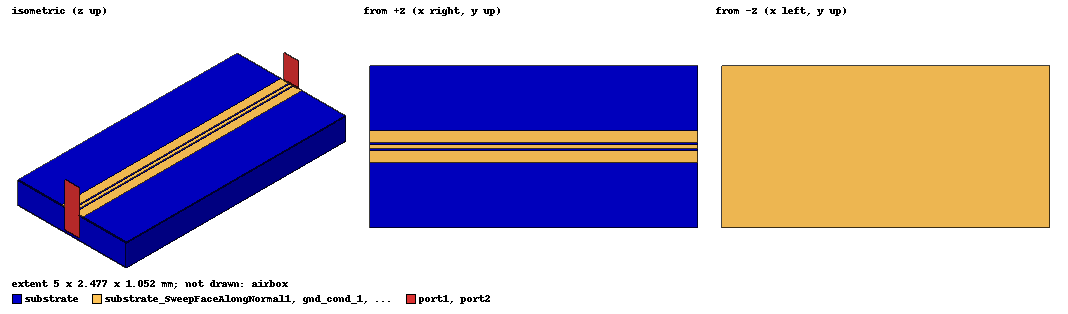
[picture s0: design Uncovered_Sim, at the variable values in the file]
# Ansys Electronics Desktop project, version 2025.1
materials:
  vacuum: permittivity=1
  air: permittivity=1.0006 permeability=1.0000004
  gold: permeability=0.99996 conductivity=41000000
  sapphire: permittivity=9.4 dielectric_loss_tangent=2e-05

design Uncovered_Sim (HFSS, HFSS Terminal Network, model units mm)
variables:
  subx = 5mm
  suby = s + 2*(g+gnd_width) + 2000um
  subz = 500um
  s = 60um  # optimise 13.5um..40.5um; tune 13.5um..40.5um
  g = 28.5um
  gnd_width = 3*s
  Tmet = 2um  # optimise 1um..3um; tune 1um..3um
  air_box_h = subz + 15000um
  porty = 3*(2*g+s)
  portz = 2*subz
  airx = subx
  airy = suby+15000um
  abpillarx = 20um
  abpillary = 20um
  abpillarz = 4um
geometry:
  substrate [sapphire] = box(corner=(-subx/2, -suby/2, 0mm), size=(subx, suby, subz))
  signal_dummy [vacuum, non-model] = substrate.section(plane=ZX)
  signal_dummy.thicken(s, both sides)
  gap_dummy1 [vacuum, non-model] = sweep_along_normal(signal_dummy.face(at (0, -0.03, 0.25)), length=g)
  gap_dummy2 [vacuum, non-model] = sweep_along_normal(signal_dummy.face(at (0, 0.03, 0.25)), length=g)
  gnd_dummy1 [vacuum, non-model] = sweep_along_normal(gap_dummy1.face(at (0, -0.0585, 0.25)), length=gnd_width)
  gnd_dummy2 [vacuum, non-model] = sweep_along_normal(gap_dummy2.face(at (0, 0.0585, 0.25)), length=gnd_width)
  signal_conductor [gold, solve inside] = sweep_along_normal(signal_dummy.face(at (0, 0, 0.5)), length=Tmet)
  gnd_cond_1 [gold, solve inside] = sweep_along_normal(gnd_dummy1.face(at (0, -0.1485, 0.5)), length=Tmet)
  gnd_cond_2 [gold, solve inside] = sweep_along_normal(gnd_dummy2.face(at (0, 0.1485, 0.5)), length=Tmet)
  port1 = rectangle(corner=(subx/2, -porty/2, 50um), y_size=porty, z_size=portz)
  port2 = rectangle(corner=(-subx/2, -porty/2, 50um), y_size=porty, z_size=portz)
  airbox [air] = box(corner=(-airx/2, -airy/2, -air_box_h/2), size=(airx, airy, air_box_h))
  airbridge1 [gold, non-model] = box(corner=(2mm, 0mm, 0mm), size=(abpillarx, abpillary, abpillarz))
  Box3 = box(corner=(2mm+abpillarx +2*g+s, 0mm, 0mm), size=(abpillarx, abpillary, abpillarz))
  Box4 = box(corner=(2mm, 0.02mm -abpillary, 0.004mm), size=(2*abpillarx +2*g+s, abpillary, 2um))
  airbridge1.unite(Box3, Box4)
  airbridge1.move(-2mm, 0mm, subz+Tmet)
  airbridge1.rotate(axis=Z, angle=90deg)
  airbridge1.move(0.01mm, -0.0785mm, 0mm)
  airbridge3 [gold, non-model] = box(corner=(2mm, 0mm, 0mm), size=(abpillarx, abpillary, abpillarz))
  Box6 = box(corner=(2mm+abpillarx +2*g+s, 0mm, 0mm), size=(abpillarx, abpillary, abpillarz))
  Box7 = box(corner=(2mm, 0.02mm -abpillary, 0.004mm), size=(2*abpillarx +2*g+s, abpillary, 2um))
  airbridge3.unite(Box6, Box7)
  airbridge3.move(-2mm, 0mm, subz+Tmet)
  airbridge3.rotate(axis=Z, angle=90deg)
  airbridge3.move(0.01mm, -0.0785mm, 0mm)
  airbridge2 [gold, non-model] = box(corner=(2mm, 0mm, 0mm), size=(abpillarx, abpillary, abpillarz))
  Box9 = box(corner=(2mm+abpillarx +2*g+s, 0mm, 0mm), size=(abpillarx, abpillary, abpillarz))
  Box10 = box(corner=(2mm, 0.02mm -abpillary, 0.004mm), size=(2*abpillarx +2*g+s, abpillary, 2um))
  airbridge2.unite(Box9, Box10)
  airbridge2.move(-2mm, 0mm, subz+Tmet)
  airbridge2.rotate(axis=Z, angle=90deg)
  airbridge2.move(0.01mm, -0.0785mm, 0mm)
  airbridge2.move(-350um, 0mm, 0mm)
  airbridge3.move(350um, 0mm, 0mm)
  airbridge4 [gold, non-model] = box(corner=(2mm, 0mm, 0mm), size=(abpillarx, abpillary, abpillarz))
  Box11 = box(corner=(2mm+abpillarx +2*g+s, 0mm, 0mm), size=(abpillarx, abpillary, abpillarz))
  Box12 = box(corner=(2mm, 0.02mm -abpillary, 0.004mm), size=(2*abpillarx +2*g+s, abpillary, 2um))
  airbridge4.unite(Box11, Box12)
  airbridge4.move(-2mm, 0mm, subz+Tmet)
  airbridge4.rotate(axis=Z, angle=90deg)
  airbridge4.move(0.01mm, -0.0785mm, 0mm)
  airbridge5 [gold, non-model] = box(corner=(2mm, 0mm, 0mm), size=(abpillarx, abpillary, abpillarz))
  Box13 = box(corner=(2mm+abpillarx +2*g+s, 0mm, 0mm), size=(abpillarx, abpillary, abpillarz))
  Box14 = box(corner=(2mm, 0.02mm -abpillary, 0.004mm), size=(2*abpillarx +2*g+s, abpillary, 2um))
  airbridge5.unite(Box13, Box14)
  airbridge5.move(-2mm, 0mm, subz+Tmet)
  airbridge5.rotate(axis=Z, angle=90deg)
  airbridge5.move(0.01mm, -0.0785mm, 0mm)
  airbridge4.move(-700um, 0mm, 0mm)
  airbridge5.move(700um, 0mm, 0mm)
  airbridge6 [gold, non-model] = box(corner=(2mm, 0mm, 0mm), size=(abpillarx, abpillary, abpillarz))
  Box15 = box(corner=(2mm+abpillarx +2*g+s, 0mm, 0mm), size=(abpillarx, abpillary, abpillarz))
  Box16 = box(corner=(2mm, 0.02mm -abpillary, 0.004mm), size=(2*abpillarx +2*g+s, abpillary, 2um))
  airbridge6.unite(Box15, Box16)
  airbridge6.move(-2mm, 0mm, subz+Tmet)
  airbridge6.rotate(axis=Z, angle=90deg)
  airbridge6.move(0.01mm, -0.0785mm, 0mm)
  airbridge6.move(-1050um, 0mm, 0mm)
  airbridge7 [gold, non-model] = box(corner=(2mm, 0mm, 0mm), size=(abpillarx, abpillary, abpillarz))
  Box17 = box(corner=(2mm+abpillarx +2*g+s, 0mm, 0mm), size=(abpillarx, abpillary, abpillarz))
  Box18 = box(corner=(2mm, 0.02mm -abpillary, 0.004mm), size=(2*abpillarx +2*g+s, abpillary, 2um))
  airbridge7.unite(Box17, Box18)
  airbridge7.move(-2mm, 0mm, subz+Tmet)
  airbridge7.rotate(axis=Z, angle=90deg)
  airbridge7.move(0.01mm, -0.0785mm, 0mm)
  airbridge7.move(1050um, 0mm, 0mm)
  substrate_SweepFaceAlongNormal1 [gold, solve inside] = sweep_along_normal(substrate.face(-z), length=2um)
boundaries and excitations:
  Rad1: Radiation Faces=airbox.face(-y, +z, -z, +y)
  Rad2: Radiation Faces=airbox.face(+x, -x)
  PerfE1: Perfect E Faces=substrate_SweepFaceAlongNormal1.face(at (0, 0, -0.002))
  1: Wave Port Objects=port1 WavePortType=Modal NumModes=1 Modes{Mode1{IntLine{(2.5, 0.03, 0.502) -> (2.5, 0.0585, 0.502)} CharImp=Zpv RenormImp=50ohm}}
  2: Wave Port Objects=port2 WavePortType=Modal NumModes=1 Modes{Mode1{IntLine{(-2.5, 0.03, 0.502) -> (-2.5, 0.0585, 0.502)} CharImp=Zpv RenormImp=50ohm}}
  reference conductors: gnd_cond_1, gnd_cond_2
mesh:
  SkinDepth1: SkinDepthBased Objects=[gnd_cond_1, signal_conductor, gnd_cond_2] SkinDepth=0.00047836016mm SurfTriMaxLength=0.4mm NumLayers=3
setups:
  broadband: HfssDriven MultipleAdaptiveFreqsSetup{Low=5GHz High=40GHz} MaxDeltaS=0.02 MaximumPasses=15 MinimumPasses=1 MinimumConvergedPasses=1 PercentRefinement=30 BasisOrder=1 PortAccuracy=0.1 UseABCOnPort DrivenSolverType="Direct Solver"
    sweep intepolating: 5GHz to 50GHz, 2801 points; Type=Interpolating InterpTolerance=0.5 InterpMaxSolns=250 PassivityErrorTolerance=0.0001
    sweep discrete: 5GHz to 50GHz step 0.5GHz; disabled Type=Discrete
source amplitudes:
  1:1: 1V 0deg
  2:1: 0V 0deg
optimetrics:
  gnd_width: Parametric disabled Sim._Setups=[broadband]
  ParametricSetup1: Parametric Sim._Setups=[broadband]
    sweep Tmet: LINC 0.5um 2.5um 3
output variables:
  Zo = 50*(1 + re(St(signal_conductor_T1,signal_conductor_T1)))/(1-re(St(signal_conductor_T1,signal_conductor_T1)))
  lost_power_fraction = 1-(mag(St(1,1))^2 + mag(St(2,1))^2)
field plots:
  Mesh1: MeshPlots in gnd_cond_1 on broadband : LastAdaptive at Freq=22.5GHz Phase=0deg
  Mesh2: MeshPlots in gnd_cond_1, gnd_cond_2, signal_conductor on broadband : LastAdaptive at Freq=22.5GHz Phase=0deg
  Mesh3: MeshPlots in signal_conductor on broadband : LastAdaptive at Freq=22.5GHz Phase=0deg
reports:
  Terminal S Parameter Plot1: dB(St(1,1)) vs Freq on broadband : intepolating [Tmet=all]
  Terminal S Parameter Plot2: dB(St(2,1)) vs Freq on broadband : intepolating [Tmet=all]
  Output Variables Plot1: lost_power_fraction vs Freq on broadband : intepolating [Tmet=all]
